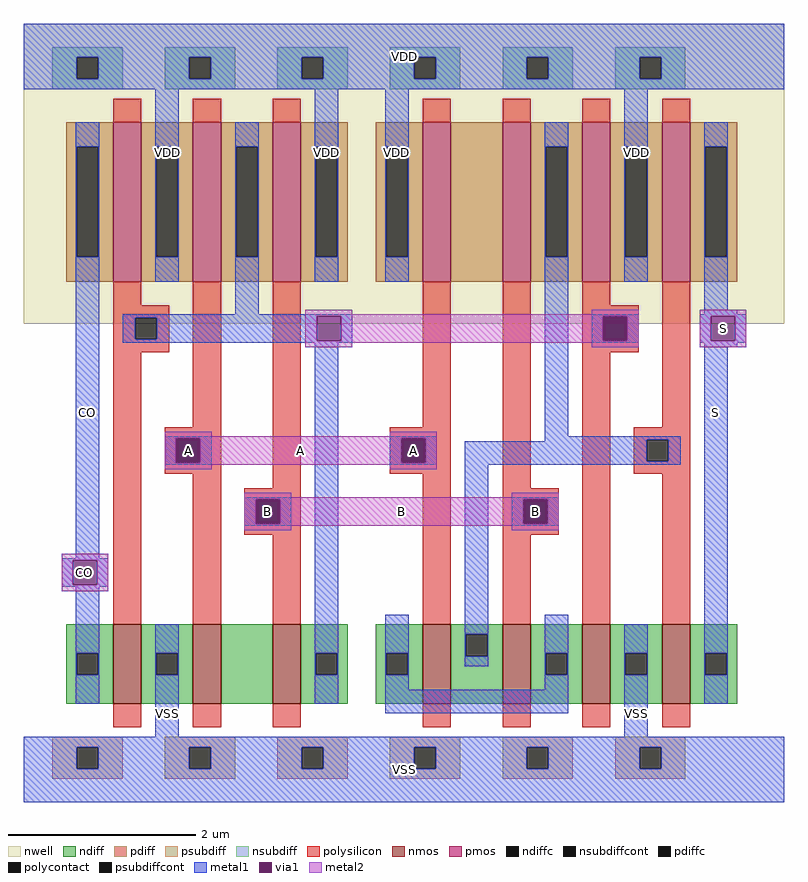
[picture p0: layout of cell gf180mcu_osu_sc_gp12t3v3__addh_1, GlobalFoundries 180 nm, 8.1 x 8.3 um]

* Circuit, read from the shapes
.subckt gf180mcu_osu_sc_gp12t3v3__addh_1 A B S CO VDD VSS
XM1 VSS n1 CO VSS nfet_03v3 w=0.85u l=0.3u
XM2 n2 A VSS VSS nfet_03v3 w=0.85u l=0.3u
XM3 n1 B n2 VSS nfet_03v3 w=0.85u l=0.3u
XM4 n3 A n4 VSS nfet_03v3 w=0.85u l=0.3u
XM5 n4 B n3 VSS nfet_03v3 w=0.85u l=0.3u
XM6 VSS n1 n4 VSS nfet_03v3 w=0.85u l=0.3u
XM7 S n3 VSS VSS nfet_03v3 w=0.85u l=0.3u
XM8 VDD n1 CO VDD pfet_03v3 w=1.7u l=0.3u
XM9 n1 A VDD VDD pfet_03v3 w=1.7u l=0.3u
XM10 VDD B n1 VDD pfet_03v3 w=1.7u l=0.3u
XM11 n5 A VDD VDD pfet_03v3 w=1.7u l=0.3u
XM12 n3 B n5 VDD pfet_03v3 w=1.7u l=0.3u
XM13 VDD n1 n3 VDD pfet_03v3 w=1.7u l=0.3u
XM14 S n3 VDD VDD pfet_03v3 w=1.7u l=0.3u
.ends

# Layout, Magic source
magic
tech gf180mcuA
magscale 1 10
<< nwell >>
rect 0 1020 1620 1660
<< nmos >>
rect 190 210 250 380
rect 360 210 420 380
rect 530 210 590 380
rect 850 210 910 380
rect 1020 210 1080 380
rect 1190 210 1250 380
rect 1360 210 1420 380
<< pmos >>
rect 190 1110 250 1450
rect 360 1110 420 1450
rect 530 1110 590 1450
rect 850 1110 910 1450
rect 1020 1110 1080 1450
rect 1190 1110 1250 1450
rect 1360 1110 1420 1450
<< ndiff >>
rect 90 318 190 380
rect 90 272 112 318
rect 158 272 190 318
rect 90 210 190 272
rect 250 318 360 380
rect 250 272 282 318
rect 328 272 360 318
rect 250 210 360 272
rect 420 210 530 380
rect 590 318 690 380
rect 590 272 622 318
rect 668 272 690 318
rect 590 210 690 272
rect 750 318 850 380
rect 750 272 772 318
rect 818 272 850 318
rect 750 210 850 272
rect 910 358 1020 380
rect 910 312 942 358
rect 988 312 1020 358
rect 910 210 1020 312
rect 1080 318 1190 380
rect 1080 272 1112 318
rect 1158 272 1190 318
rect 1080 210 1190 272
rect 1250 318 1360 380
rect 1250 272 1282 318
rect 1328 272 1360 318
rect 1250 210 1360 272
rect 1420 318 1520 380
rect 1420 272 1452 318
rect 1498 272 1520 318
rect 1420 210 1520 272
<< pdiff >>
rect 90 1397 190 1450
rect 90 1163 112 1397
rect 158 1163 190 1397
rect 90 1110 190 1163
rect 250 1397 360 1450
rect 250 1163 282 1397
rect 328 1163 360 1397
rect 250 1110 360 1163
rect 420 1397 530 1450
rect 420 1163 452 1397
rect 498 1163 530 1397
rect 420 1110 530 1163
rect 590 1397 690 1450
rect 590 1163 622 1397
rect 668 1163 690 1397
rect 590 1110 690 1163
rect 750 1397 850 1450
rect 750 1163 772 1397
rect 818 1163 850 1397
rect 750 1110 850 1163
rect 910 1110 1020 1450
rect 1080 1397 1190 1450
rect 1080 1163 1112 1397
rect 1158 1163 1190 1397
rect 1080 1110 1190 1163
rect 1250 1397 1360 1450
rect 1250 1163 1282 1397
rect 1328 1163 1360 1397
rect 1250 1110 1360 1163
rect 1420 1397 1520 1450
rect 1420 1163 1452 1397
rect 1498 1163 1520 1397
rect 1420 1110 1520 1163
<< ndiffc >>
rect 112 272 158 318
rect 282 272 328 318
rect 622 272 668 318
rect 772 272 818 318
rect 942 312 988 358
rect 1112 272 1158 318
rect 1282 272 1328 318
rect 1452 272 1498 318
<< pdiffc >>
rect 112 1163 158 1397
rect 282 1163 328 1397
rect 452 1163 498 1397
rect 622 1163 668 1397
rect 772 1163 818 1397
rect 1112 1163 1158 1397
rect 1282 1163 1328 1397
rect 1452 1163 1498 1397
<< psubdiff >>
rect 60 118 210 140
rect 60 72 112 118
rect 158 72 210 118
rect 60 50 210 72
rect 300 118 450 140
rect 300 72 352 118
rect 398 72 450 118
rect 300 50 450 72
rect 540 118 690 140
rect 540 72 592 118
rect 638 72 690 118
rect 540 50 690 72
rect 780 118 930 140
rect 780 72 832 118
rect 878 72 930 118
rect 780 50 930 72
rect 1020 118 1170 140
rect 1020 72 1072 118
rect 1118 72 1170 118
rect 1020 50 1170 72
rect 1260 118 1410 140
rect 1260 72 1312 118
rect 1358 72 1410 118
rect 1260 50 1410 72
<< nsubdiff >>
rect 60 1588 210 1610
rect 60 1542 112 1588
rect 158 1542 210 1588
rect 60 1520 210 1542
rect 300 1588 450 1610
rect 300 1542 352 1588
rect 398 1542 450 1588
rect 300 1520 450 1542
rect 540 1588 690 1610
rect 540 1542 592 1588
rect 638 1542 690 1588
rect 540 1520 690 1542
rect 780 1588 930 1610
rect 780 1542 832 1588
rect 878 1542 930 1588
rect 780 1520 930 1542
rect 1020 1588 1170 1610
rect 1020 1542 1072 1588
rect 1118 1542 1170 1588
rect 1020 1520 1170 1542
rect 1260 1588 1410 1610
rect 1260 1542 1312 1588
rect 1358 1542 1410 1588
rect 1260 1520 1410 1542
<< psubdiffcont >>
rect 112 72 158 118
rect 352 72 398 118
rect 592 72 638 118
rect 832 72 878 118
rect 1072 72 1118 118
rect 1312 72 1358 118
<< nsubdiffcont >>
rect 112 1542 158 1588
rect 352 1542 398 1588
rect 592 1542 638 1588
rect 832 1542 878 1588
rect 1072 1542 1118 1588
rect 1312 1542 1358 1588
<< polysilicon >>
rect 190 1450 250 1500
rect 360 1450 420 1500
rect 530 1450 590 1500
rect 850 1450 910 1500
rect 1020 1450 1080 1500
rect 1190 1450 1250 1500
rect 1360 1450 1420 1500
rect 190 1060 250 1110
rect 190 1033 310 1060
rect 190 987 237 1033
rect 283 987 310 1033
rect 190 960 310 987
rect 190 380 250 960
rect 360 800 420 1110
rect 300 773 420 800
rect 300 727 327 773
rect 373 727 420 773
rect 300 700 420 727
rect 360 380 420 700
rect 530 670 590 1110
rect 850 800 910 1110
rect 780 773 910 800
rect 780 727 807 773
rect 853 727 910 773
rect 780 700 910 727
rect 470 643 590 670
rect 470 597 497 643
rect 543 597 590 643
rect 470 570 590 597
rect 530 380 590 570
rect 850 380 910 700
rect 1020 670 1080 1110
rect 1190 1060 1250 1110
rect 1190 1033 1310 1060
rect 1190 987 1237 1033
rect 1283 987 1310 1033
rect 1190 960 1310 987
rect 1020 643 1140 670
rect 1020 597 1067 643
rect 1113 597 1140 643
rect 1020 570 1140 597
rect 1020 380 1080 570
rect 1190 380 1250 960
rect 1360 800 1420 1110
rect 1300 773 1420 800
rect 1300 727 1327 773
rect 1373 727 1420 773
rect 1300 700 1420 727
rect 1360 380 1420 700
rect 190 160 250 210
rect 360 160 420 210
rect 530 160 590 210
rect 850 160 910 210
rect 1020 160 1080 210
rect 1190 160 1250 210
rect 1360 160 1420 210
<< polycontact >>
rect 237 987 283 1033
rect 327 727 373 773
rect 807 727 853 773
rect 497 597 543 643
rect 1237 987 1283 1033
rect 1067 597 1113 643
rect 1327 727 1373 773
<< metal1 >>
rect 0 1588 1620 1660
rect 0 1542 112 1588
rect 158 1542 352 1588
rect 398 1542 592 1588
rect 638 1542 832 1588
rect 878 1542 1072 1588
rect 1118 1542 1312 1588
rect 1358 1542 1620 1588
rect 0 1520 1620 1542
rect 110 1397 160 1450
rect 110 1163 112 1397
rect 158 1163 160 1397
rect 110 520 160 1163
rect 280 1397 330 1520
rect 280 1163 282 1397
rect 328 1163 330 1397
rect 280 1110 330 1163
rect 450 1397 500 1450
rect 450 1163 452 1397
rect 498 1163 500 1397
rect 450 1040 500 1163
rect 620 1397 670 1520
rect 620 1163 622 1397
rect 668 1163 670 1397
rect 620 1110 670 1163
rect 770 1397 820 1520
rect 770 1163 772 1397
rect 818 1163 820 1397
rect 770 1110 820 1163
rect 1110 1397 1160 1450
rect 1110 1163 1112 1397
rect 1158 1163 1160 1397
rect 210 1036 700 1040
rect 210 1033 624 1036
rect 210 987 237 1033
rect 283 987 624 1033
rect 210 984 624 987
rect 676 984 700 1036
rect 210 980 700 984
rect 300 776 400 780
rect 300 724 324 776
rect 376 724 400 776
rect 300 720 400 724
rect 470 646 570 650
rect 470 594 494 646
rect 546 594 570 646
rect 470 590 570 594
rect 80 516 180 520
rect 80 464 104 516
rect 156 464 180 516
rect 80 460 180 464
rect 110 318 160 460
rect 110 272 112 318
rect 158 272 160 318
rect 110 210 160 272
rect 280 318 330 380
rect 280 272 282 318
rect 328 272 330 318
rect 280 140 330 272
rect 620 318 670 980
rect 1110 780 1160 1163
rect 1280 1397 1330 1520
rect 1280 1163 1282 1397
rect 1328 1163 1330 1397
rect 1280 1110 1330 1163
rect 1450 1397 1500 1450
rect 1450 1163 1452 1397
rect 1498 1163 1500 1397
rect 1450 1050 1500 1163
rect 1450 1040 1520 1050
rect 1210 1036 1310 1040
rect 1210 984 1234 1036
rect 1286 984 1310 1036
rect 1210 980 1310 984
rect 1440 1036 1540 1040
rect 1440 984 1464 1036
rect 1516 984 1540 1036
rect 1440 980 1540 984
rect 1450 970 1520 980
rect 780 776 880 780
rect 780 724 804 776
rect 856 724 880 776
rect 1110 773 1400 780
rect 1110 770 1327 773
rect 780 720 880 724
rect 940 727 1327 770
rect 1373 727 1400 773
rect 940 720 1400 727
rect 620 272 622 318
rect 668 272 670 318
rect 620 210 670 272
rect 770 318 820 400
rect 770 272 772 318
rect 818 272 820 318
rect 940 358 990 720
rect 1040 646 1140 650
rect 1040 594 1064 646
rect 1116 594 1140 646
rect 1040 590 1140 594
rect 940 312 942 358
rect 988 312 990 358
rect 940 290 990 312
rect 1110 318 1160 400
rect 770 240 820 272
rect 1110 272 1112 318
rect 1158 272 1160 318
rect 1110 240 1160 272
rect 770 190 1160 240
rect 1280 318 1330 380
rect 1280 272 1282 318
rect 1328 272 1330 318
rect 1280 140 1330 272
rect 1450 318 1500 970
rect 1450 272 1452 318
rect 1498 272 1500 318
rect 1450 210 1500 272
rect 0 118 1620 140
rect 0 72 112 118
rect 158 72 352 118
rect 398 72 592 118
rect 638 72 832 118
rect 878 72 1072 118
rect 1118 72 1312 118
rect 1358 72 1620 118
rect 0 0 1620 72
<< via1 >>
rect 624 984 676 1036
rect 324 773 376 776
rect 324 727 327 773
rect 327 727 373 773
rect 373 727 376 773
rect 324 724 376 727
rect 494 643 546 646
rect 494 597 497 643
rect 497 597 543 643
rect 543 597 546 643
rect 494 594 546 597
rect 104 464 156 516
rect 1234 1033 1286 1036
rect 1234 987 1237 1033
rect 1237 987 1283 1033
rect 1283 987 1286 1033
rect 1234 984 1286 987
rect 1464 984 1516 1036
rect 804 773 856 776
rect 804 727 807 773
rect 807 727 853 773
rect 853 727 856 773
rect 804 724 856 727
rect 1064 643 1116 646
rect 1064 597 1067 643
rect 1067 597 1113 643
rect 1113 597 1116 643
rect 1064 594 1116 597
<< metal2 >>
rect 600 1040 700 1050
rect 1210 1040 1310 1050
rect 600 1036 1310 1040
rect 600 984 624 1036
rect 676 984 1234 1036
rect 1286 984 1310 1036
rect 600 980 1310 984
rect 600 970 700 980
rect 1210 970 1310 980
rect 1440 1036 1540 1050
rect 1440 984 1464 1036
rect 1516 984 1540 1036
rect 1440 970 1540 984
rect 300 780 400 790
rect 780 780 880 790
rect 300 776 880 780
rect 300 724 324 776
rect 376 724 804 776
rect 856 724 880 776
rect 300 720 880 724
rect 300 710 400 720
rect 780 710 880 720
rect 470 650 570 660
rect 1040 650 1140 660
rect 470 646 1140 650
rect 470 594 494 646
rect 546 594 1064 646
rect 1116 594 1140 646
rect 470 590 1140 594
rect 470 580 570 590
rect 1040 580 1140 590
rect 80 516 180 530
rect 80 464 104 516
rect 156 464 180 516
rect 80 450 180 464
<< labels >>
rlabel via1 s 804 724 856 776 4 A
port 1 nsew signal input
rlabel via1 s 1064 594 1116 646 4 B
port 2 nsew signal input
rlabel via1 s 1464 984 1516 1036 4 S
port 3 nsew signal output
rlabel via1 s 104 464 156 516 4 CO
port 4 nsew signal output
rlabel metal1 s 280 1110 330 1660 4 VDD
port 5 nsew power bidirectional abutment
rlabel metal1 s 280 0 330 380 4 VSS
port 6 nsew ground bidirectional abutment
rlabel metal1 s 620 1110 670 1660 1 VDD
port 5 nsew power bidirectional abutment
rlabel metal1 s 770 1110 820 1660 1 VDD
port 5 nsew power bidirectional abutment
rlabel metal1 s 1280 1110 1330 1660 1 VDD
port 5 nsew power bidirectional abutment
rlabel metal1 s 0 1520 1620 1660 1 VDD
port 5 nsew power bidirectional abutment
rlabel metal1 s 1280 0 1330 380 1 VSS
port 6 nsew ground bidirectional abutment
rlabel metal1 s 0 0 1620 140 1 VSS
port 6 nsew ground bidirectional abutment
rlabel via1 s 324 724 376 776 1 A
port 1 nsew signal input
rlabel metal2 s 300 710 400 790 1 A
port 1 nsew signal input
rlabel metal2 s 300 720 880 780 1 A
port 1 nsew signal input
rlabel metal2 s 780 710 880 790 1 A
port 1 nsew signal input
rlabel metal1 s 300 720 400 780 1 A
port 1 nsew signal input
rlabel metal1 s 780 720 880 780 1 A
port 1 nsew signal input
rlabel via1 s 494 594 546 646 1 B
port 2 nsew signal input
rlabel metal2 s 470 580 570 660 1 B
port 2 nsew signal input
rlabel metal2 s 470 590 1140 650 1 B
port 2 nsew signal input
rlabel metal2 s 1040 580 1140 660 1 B
port 2 nsew signal input
rlabel metal1 s 470 590 570 650 1 B
port 2 nsew signal input
rlabel metal1 s 1040 590 1140 650 1 B
port 2 nsew signal input
rlabel metal2 s 80 450 180 530 1 CO
port 4 nsew signal output
rlabel metal1 s 110 210 160 1450 1 CO
port 4 nsew signal output
rlabel metal1 s 80 460 180 520 1 CO
port 4 nsew signal output
rlabel metal2 s 1440 970 1540 1050 1 S
port 3 nsew signal output
rlabel metal1 s 1450 210 1500 1450 1 S
port 3 nsew signal output
rlabel metal1 s 1450 970 1520 1050 1 S
port 3 nsew signal output
rlabel metal1 s 1440 980 1540 1040 1 S
port 3 nsew signal output
<< properties >>
string FIXED_BBOX 0 0 1620 1660
string GDS_END 30160
string GDS_FILE $PDKPATH/libs.ref/gf180mcu_osu_sc_gp12t3v3/gds/gf180mcu_osu_sc_gp12t3v3.gds
string GDS_START 19236
string LEFclass CORE
string LEFsite gf180mcu_osu_sc_gp12t3v3
string LEFsymmetry X Y
<< end >>
